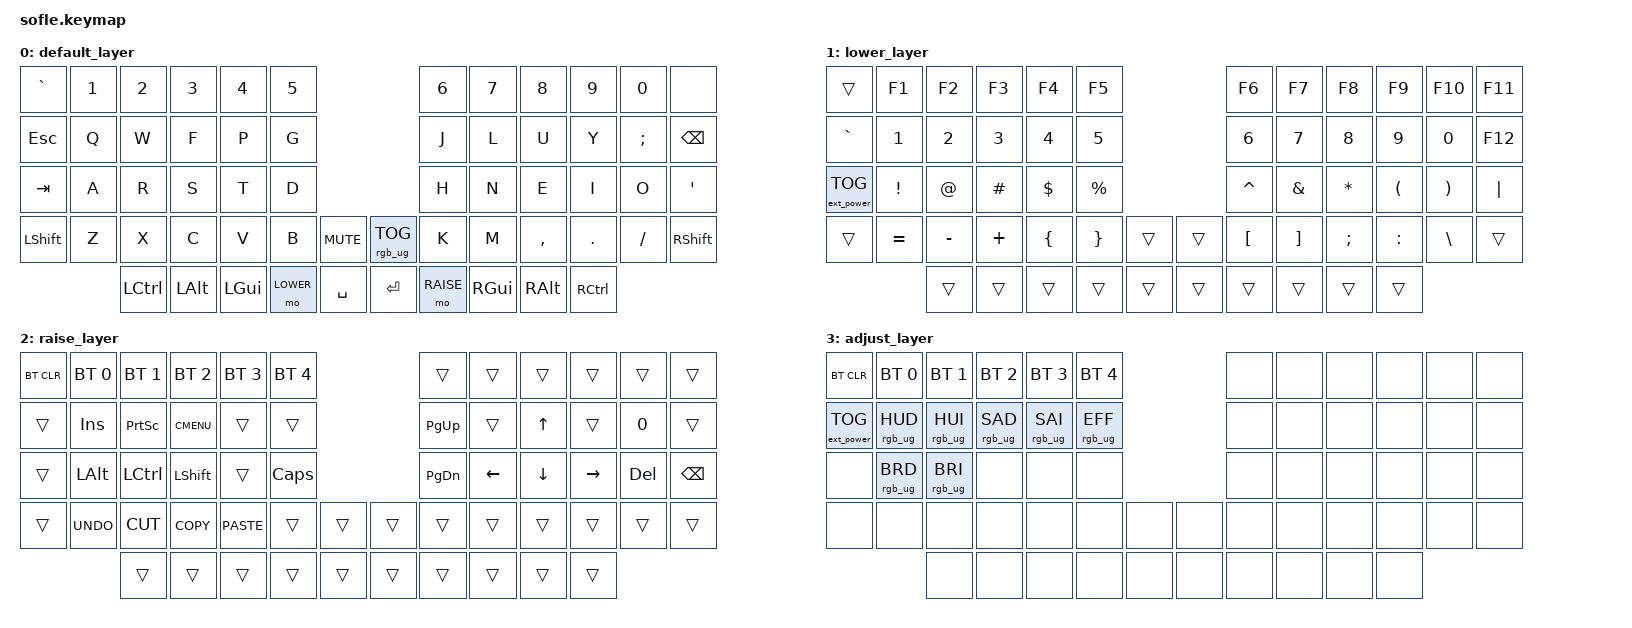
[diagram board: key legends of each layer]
/*
 * Copyright (c) 2020 The ZMK Contributors
 *
 * SPDX-License-Identifier: MIT
 */

#include <behaviors.dtsi>
#include <dt-bindings/zmk/bt.h>
#include <dt-bindings/zmk/ext_power.h>
#include <dt-bindings/zmk/keys.h>
#include <dt-bindings/zmk/rgb.h>

#define BASE 0
#define LOWER 1
#define RAISE 2
#define ADJUST 3

/ {
    // Activate ADJUST layer by pressing raise and lower

    conditional_layers {
        compatible = "zmk,conditional-layers";

        adjust_layer {
            if-layers = <LOWER RAISE>;
            then-layer = <ADJUST>;
        };
    };

    keymap {
        compatible = "zmk,keymap";

        default_layer {
            // ------------------------------------------------------------------------------------------------------------
            // |   `   |  1  |  2  |  3   |  4   |  5   |                   |  6   |  7    |  8    |  9   |   0   |       |
            // |  ESC  |  Q  |  W  |  F   |  P   |  G   |                   |  J   |  L    |  U    |  Y   |   ;   | BKSPC |
            // |  TAB  |  A  |  R  |  S   |  T   |  D   |                   |  H   |  N    |  E    |  I   |   O   |   '   |
            // | SHIFT |  Z  |  X  |  C   |  V   |  B   |  MUTE  |  |       |  K   |  M    |  ,    |  .   |   /   | SHIFT |
            //               | CTRL| ALT  | GUI  | LOWER| SPACE  |  | ENTER | RAISE| CTRL  | ALT   | GUI  |

            bindings = <
&kp GRAVE  &kp N1  &kp N2    &kp N3    &kp N4     &kp N5                                    &kp N6     &kp N7     &kp N8     &kp N9    &kp N0    &none
&kp ESC    &kp Q   &kp W     &kp F     &kp P      &kp G                                     &kp J      &kp L      &kp U      &kp Y     &kp SEMI  &kp BSPC
&kp TAB    &kp A   &kp R     &kp S     &kp T      &kp D                                     &kp H      &kp N      &kp E      &kp I     &kp O     &kp SQT
&kp LSHFT  &kp Z   &kp X     &kp C     &kp V      &kp B      &kp C_MUTE    &rgb_ug RGB_TOG  &kp K      &kp M      &kp COMMA  &kp DOT   &kp FSLH  &kp RSHFT
                   &kp LCTRL &kp LALT  &kp LGUI   &mo LOWER  &kp SPACE     &kp RET          &mo RAISE  &kp RGUI  &kp RALT  &kp RCTRL
            >;
        };

        lower_layer {
            // ------------------------------------------------------------------------------------------------------------
            // |       |  F1 |  F2 |  F3  |  F4  |  F5  |                   |  F6  |  F7   |  F8   |  F9  |  F10  |  F11  |
            // |   `   |  1  |  2  |  3   |  4   |  5   |                   |  6   |  7    |  8    |  9   |   0   |  F12  |
            // |       |  !  |  @  |  #   |  $   |  %   |                   |  ^   |  &    |  *    |  (   |   )   |   |   |
            // |       |  =  |  -  |  +   |  {   |  }   |        |  |       |  [   |  ]    |  ;    |  :   |   \   |       |
            //               |     |      |      |      |        |  |       |      |       |       |      |

            bindings = <
&trans             &kp F1     &kp F2     &kp F3    &kp F4    &kp F5                       &kp F6     &kp F7    &kp F8     &kp F9     &kp F10   &kp F11
&kp GRAVE          &kp N1     &kp N2     &kp N3    &kp N4    &kp N5                       &kp N6     &kp N7    &kp N8     &kp N9     &kp N0    &kp F12
&ext_power EP_TOG  &kp EXCL   &kp AT     &kp HASH  &kp DLLR  &kp PRCNT                    &kp CARET  &kp AMPS  &kp ASTRK  &kp LPAR   &kp RPAR  &kp PIPE
&trans             &kp EQUAL  &kp MINUS  &kp PLUS  &kp LBRC  &kp RBRC   &trans    &trans  &kp LBKT   &kp RBKT  &kp SEMI   &kp COLON  &kp BSLH  &trans
                              &trans     &trans    &trans    &trans     &trans    &trans  &trans     &trans    &trans     &trans
            >;
        };

        raise_layer {
            // ------------------------------------------------------------------------------------------------------------
            // | BTCLR | BT1  | BT2  |  BT3  |  BT4  |  BT5 |                |      |      |       |      |       |       |
            // |       | INS  | PSCR | GUI   |       |      |                | PGUP |      |   ^   |      |       |       |
            // |       | ALT  | CTRL | SHIFT |       | CAPS |                | PGDN |   <- |   v   |  ->  |  DEL  | BKSPC |
            // |       | UNDO | CUT  | COPY  | PASTE |      |      |  |      |      |      |       |      |       |       |
            //                |      |       |       |      |      |  |      |      |      |       |      |

            bindings = <
&bt BT_CLR  &bt BT_SEL 0  &bt BT_SEL 1  &bt BT_SEL 2  &bt BT_SEL 3  &bt BT_SEL 4                    &trans     &trans    &trans    &trans     &trans   &trans
&trans      &kp INS       &kp PSCRN     &kp K_CMENU   &trans        &trans                          &kp PG_UP  &trans    &kp UP    &trans     &kp N0   &trans
&trans      &kp LALT      &kp LCTRL     &kp LSHFT     &trans        &kp CLCK                        &kp PG_DN  &kp LEFT  &kp DOWN  &kp RIGHT  &kp DEL  &kp BSPC
&trans      &kp K_UNDO    &kp K_CUT     &kp K_COPY    &kp K_PASTE   &trans        &trans    &trans  &trans     &trans    &trans    &trans     &trans   &trans
                          &trans        &trans        &trans        &trans        &trans    &trans  &trans     &trans    &trans    &trans
            >;
        };

        adjust_layer {
            // ----------------------------------------------------------------------------------------------------------------------------
            // | BTCLR  |  BT1    |  BT2    |   BT3   |   BT4   |   BT5   |                  |      |      |       |      |       |       |
            // | EXTPWR | RGB_HUD | RGB_HUI | RGB_SAD | RGB_SAI | RGB_EFF |                  |      |      |       |      |       |       |
            // |        | RGB_BRD | RGB_BRI |         |         |         |                  |      |      |       |      |       |       |
            // |        |         |         |         |         |         | RGB_TOG | |      |      |      |       |      |       |       |
            //                    |         |         |         |         |         | |      |      |      |       |      |

            bindings = <
&bt BT_CLR         &bt BT_SEL 0     &bt BT_SEL 1     &bt BT_SEL 2     &bt BT_SEL 3     &bt BT_SEL 4                     &none  &none  &none  &none  &none  &none
&ext_power EP_TOG  &rgb_ug RGB_HUD  &rgb_ug RGB_HUI  &rgb_ug RGB_SAD  &rgb_ug RGB_SAI  &rgb_ug RGB_EFF                  &none  &none  &none  &none  &none  &none
&none              &rgb_ug RGB_BRD  &rgb_ug RGB_BRI  &none            &none            &none                            &none  &none  &none  &none  &none  &none
&none              &none            &none            &none            &none            &none            &none    &none  &none  &none  &none  &none  &none  &none
                                    &none            &none            &none            &none            &none    &none  &none  &none  &none  &none
            >;
        };

        extra1 { status = "reserved"; };

        extra2 { status = "reserved"; };

        extra3 { status = "reserved"; };

        extra4 { status = "reserved"; };
    };
};
